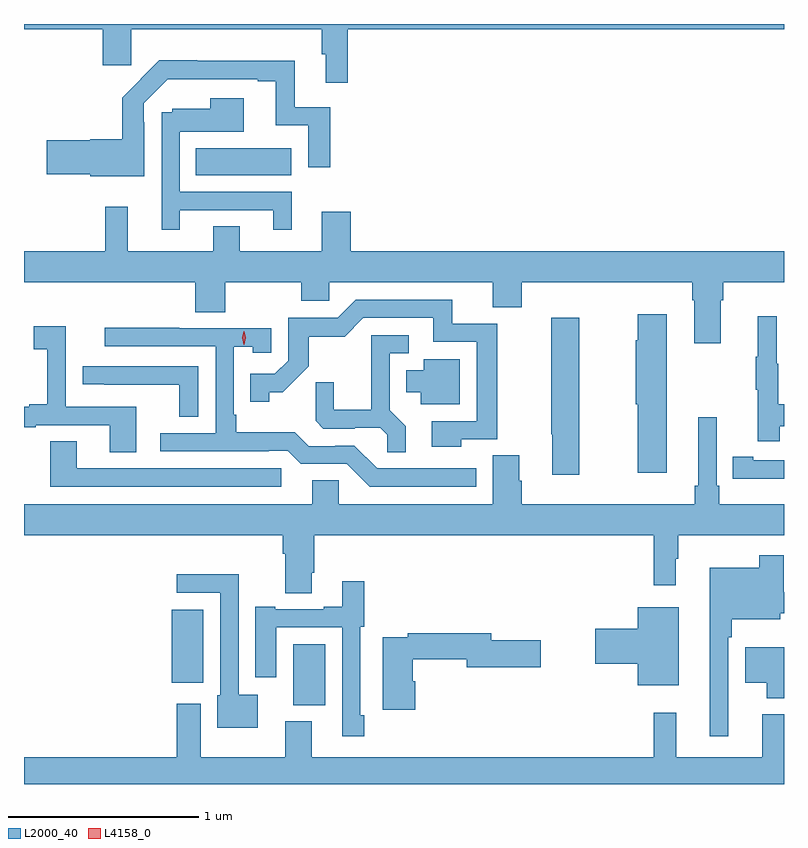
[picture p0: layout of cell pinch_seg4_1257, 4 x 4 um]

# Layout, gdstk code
import gdstk
lib = gdstk.Library(unit=1e-6, precision=1e-09)
def R(c, l, rs):  # rectangles x0, y0, x1, y1
    for r in rs: c.add(gdstk.rectangle(r[:2], r[2:], *l))
def P(c, l, *ps):  # polygons
    for p in ps: c.add(gdstk.Polygon(p, *l))
L2000_40 = (2000, 40)
L4158_0 = (4158, 0)

pinch_seg4_1257 = lib.new_cell('pinch_seg4_1257')
R(pinch_seg4_1257, L2000_40, [(373.109,777.278,373.279,777.598), (372.47,777.395,372.637,777.781), (372.598,780.068,373.099,780.208)])
P(pinch_seg4_1257, L2000_40, [(373.397,780.836),(375.693,780.836),(375.693,780.863),(371.693,780.863),(371.693,780.836),(372.107,780.836),(372.107,780.645),(372.257,780.645),(372.257,780.836),(373.261,780.836),(373.261,780.704),(373.28,780.704),(373.28,780.555),(373.397,780.555)],
  [(372.327,780.347),(372.324,780.347),(372.324,780.447),(372.45,780.573),(372.923,780.573),(372.923,780.561),(373.019,780.561),(373.019,780.33),(373.188,780.33),(373.188,780.108),(373.304,780.108),(373.304,780.426),(373.117,780.426),(373.117,780.67),(372.605,780.67),(372.605,780.673),(372.406,780.673),(372.209,780.475),(372.209,780.256),(372.042,780.256),(372.042,780.251),(371.814,780.251),(371.814,780.073),(372.042,780.073),(372.042,780.062),(372.327,780.062)],
  [(372.514,779.883),(373.004,779.883),(373.004,779.781),(373.102,779.781),(373.102,779.979),(372.513,779.979),(372.513,780.296),(372.85,780.296),(372.85,780.472),(372.674,780.472),(372.674,780.418),(372.474,780.418),(372.474,780.399),(372.417,780.399),(372.417,779.781),(372.514,779.781)],
  [(375.361,779.408),(375.374,779.408),(375.374,779.504),(375.693,779.504),(375.693,779.668),(373.412,779.668),(373.412,779.875),(373.259,779.875),(373.259,779.668),(372.829,779.668),(372.829,779.798),(372.689,779.798),(372.689,779.668),(372.239,779.668),(372.239,779.902),(372.121,779.902),(372.121,779.668),(371.693,779.668),(371.693,779.504),(372.593,779.504),(372.593,779.347),(372.753,779.347),(372.753,779.504),(373.153,779.504),(373.153,779.406),(373.299,779.406),(373.299,779.504),(374.159,779.504),(374.159,779.371),(374.312,779.371),(374.312,779.504),(375.209,779.504),(375.209,779.408),(375.221,779.408),(375.221,779.184),(375.361,779.184)],
  [(373.995,778.677),(374.185,778.677),(374.185,779.286),(373.946,779.286),(373.946,779.412),(373.44,779.412),(373.344,779.316),(373.083,779.316),(373.083,779.091),(373.014,779.022),(372.883,779.022),(372.883,778.875),(372.984,778.875),(372.984,778.925),(373.054,778.925),(373.192,779.062),(373.192,779.218),(373.381,779.218),(373.479,779.316),(373.847,779.316),(373.847,779.19),(374.076,779.19),(374.076,778.773),(373.839,778.773),(373.839,778.637),(373.995,778.637)],
  [(375.076,779.335),(374.923,779.335),(374.923,779.199),(374.912,779.199),(374.912,778.863),(374.923,778.863),(374.923,778.5),(375.076,778.5)],
  [(375.671,778.746),(375.693,778.746),(375.693,778.862),(375.664,778.862),(375.664,779.076),(375.656,779.076),(375.656,779.326),(375.554,779.326),(375.554,779.113),(375.543,779.113),(375.543,778.939),(375.554,778.939),(375.554,778.668),(375.671,778.668)],
  [(374.616,779.317),(374.467,779.317),(374.467,778.703),(374.474,778.703),(374.474,778.491),(374.616,778.491)],
  [(372.283,778.848),(371.913,778.848),(371.913,779.272),(371.745,779.272),(371.745,779.152),(371.816,779.152),(371.816,778.861),(371.72,778.861),(371.72,778.848),(371.693,778.848),(371.693,778.74),(371.755,778.74),(371.755,778.752),(372.143,778.752),(372.143,778.609),(372.283,778.609)],
  [(374.074,778.524),(373.551,778.524),(373.431,778.644),(373.33,778.644),(373.33,778.641),(373.191,778.641),(373.118,778.714),(372.811,778.714),(372.811,778.807),(372.798,778.807),(372.798,779.165),(372.897,779.165),(372.897,779.133),(372.993,779.133),(372.993,779.262),(372.509,779.262),(372.509,779.265),(372.117,779.265),(372.117,779.166),(372.702,779.166),(372.702,778.71),(372.411,778.71),(372.411,778.614),(372.98,778.614),(372.98,778.617),(373.08,778.617),(373.149,778.548),(373.392,778.548),(373.512,778.428),(374.074,778.428)],
  [(373.703,778.745),(373.617,778.831),(373.617,779.13),(373.717,779.13),(373.717,779.226),(373.52,779.226),(373.52,778.834),(373.322,778.834),(373.322,778.977),(373.228,778.977),(373.228,778.775),(373.269,778.734),(373.434,778.734),(373.434,778.737),(373.568,778.737),(373.605,778.7),(373.605,778.609),(373.703,778.609)],
  [(373.987,779.098),(373.796,779.098),(373.796,779.041),(373.706,779.041),(373.706,778.925),(373.781,778.925),(373.781,778.862),(373.987,778.862)],
  [(372.609,779.061),(372.003,779.061),(372.003,778.966),(372.115,778.966),(372.115,778.965),(372.511,778.965),(372.511,778.795),(372.609,778.795)],
  [(375.693,778.336),(375.353,778.336),(375.353,778.432),(375.339,778.432),(375.339,778.792),(375.242,778.792),(375.242,778.432),(375.223,778.432),(375.223,778.336),(374.312,778.336),(374.312,778.458),(374.299,778.458),(374.299,778.592),(374.159,778.592),(374.159,778.336),(373.35,778.336),(373.35,778.463),(373.211,778.463),(373.211,778.336),(371.693,778.336),(371.693,778.172),(373.055,778.172),(373.055,778.076),(373.067,778.076),(373.067,777.868),(373.207,777.868),(373.207,777.976),(373.22,777.976),(373.22,778.172),(375.007,778.172),(375.007,777.909),(375.124,777.909),(375.124,778.049),(375.136,778.049),(375.136,778.172),(375.693,778.172)],
  [(373.048,778.524),(371.971,778.524),(371.971,778.667),(371.831,778.667),(371.831,778.428),(373.048,778.428)],
  [(375.693,778.566),(375.532,778.566),(375.532,778.586),(375.424,778.586),(375.424,778.47),(375.532,778.47),(375.532,778.469),(375.693,778.469)],
  [(375.399,777.635),(375.419,777.635),(375.419,777.731),(375.673,777.731),(375.673,777.761),(375.693,777.761),(375.693,777.871),(375.692,777.871),(375.692,778.066),(375.564,778.066),(375.564,778),(375.302,778),(375.302,777.114),(375.399,777.114)],
  [(372.922,777.334),(372.822,777.334),(372.822,777.968),(372.498,777.968),(372.498,777.87),(372.726,777.87),(372.726,777.33),(372.71,777.33),(372.71,777.158),(372.922,777.158)],
  [(373.484,777.226),(373.464,777.226),(373.464,777.69),(373.484,777.69),(373.484,777.931),(373.367,777.931),(373.367,777.796),(373.271,777.796),(373.271,777.783),(373.015,777.783),(373.015,777.796),(372.911,777.796),(372.911,777.426),(373.021,777.426),(373.021,777.687),(373.368,777.687),(373.368,777.114),(373.484,777.114)],
  [(375.139,777.793),(374.924,777.793),(374.924,777.68),(374.7,777.68),(374.7,777.497),(374.924,777.497),(374.924,777.383),(375.139,777.383)],
  [(373.751,777.405),(373.738,777.405),(373.738,777.52),(374.024,777.52),(374.024,777.478),(374.413,777.478),(374.413,777.62),(374.152,777.62),(374.152,777.656),(373.714,777.656),(373.714,777.636),(373.58,777.636),(373.58,777.255),(373.751,777.255)],
  [(375.693,777.583),(375.488,777.583),(375.488,777.395),(375.602,777.395),(375.602,777.314),(375.693,777.314)],
  [(375.693,777.229),(375.578,777.229),(375.578,777.004),(375.125,777.004),(375.125,777.238),(375.007,777.238),(375.007,777.004),(373.207,777.004),(373.207,777.193),(373.067,777.193),(373.067,777.004),(372.622,777.004),(372.622,777.286),(372.497,777.286),(372.497,777.004),(371.693,777.004),(371.693,776.863),(375.693,776.863)])
P(pinch_seg4_1257, L4158_0, [(372.85,779.175),(372.841,779.211),(372.85,779.246),(372.851,779.247),(372.851,779.246),(372.861,779.211),(372.851,779.175),(372.851,779.175)])

lib.write_gds('pinch_seg4_1257.gds')
